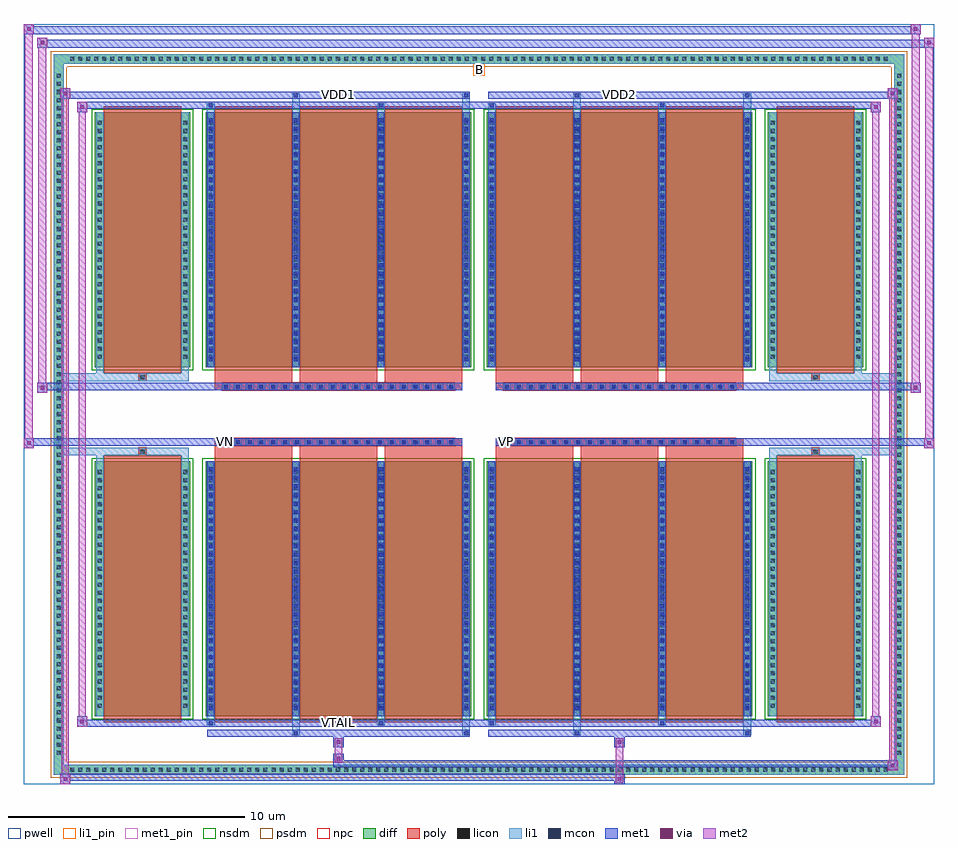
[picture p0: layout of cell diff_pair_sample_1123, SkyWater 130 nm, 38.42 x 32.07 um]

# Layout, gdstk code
import gdstk
lib = gdstk.Library(unit=1e-6, precision=5e-09)
def R(c, l, rs):  # rectangles x0, y0, x1, y1
    for r in rs: c.add(gdstk.rectangle(r[:2], r[2:], *l))
def A(c, l, x, y, w, h, nx, ny, dx, dy):  # array of equal rectangles
    R(c, l, [(x+i*dx, y+j*dy, x+i*dx+w, y+j*dy+h) for i in range(nx) for j in range(ny)])
def P(c, l, *ps):  # polygons
    for p in ps: c.add(gdstk.Polygon(p, *l))
pwell = (64, 44)
diff = (65, 20)
poly = (66, 20)
licon = (66, 44)
li1_pin = (67, 16)
li1 = (67, 20)
mcon = (67, 44)
met1_pin = (68, 16)
met1 = (68, 20)
via = (68, 44)
met2 = (69, 20)
nsdm = (93, 44)
psdm = (94, 20)
npc = (95, 20)

diff_pair_sample_1123 = lib.new_cell('diff_pair_sample_1123')
R(diff_pair_sample_1123, pwell, [(-19.21,-15.6,19.21,16.47), (-16.53,-13.79,-0.01,-0.805), (0.01,-13.79,16.53,-0.805), (-16.53,0.805,-0.01,13.79), (0.01,0.805,16.53,13.79)])
A(diff_pair_sample_1123, diff, -17.375, -15.2, 0.41, 0.41, 102, 2, 0.34, 29.99)
A(diff_pair_sample_1123, diff, -17.94, -14.485, 0.41, 0.41, 1, 85, 0, 0.34)
A(diff_pair_sample_1123, diff, 17.53, -14.485, 0.41, 0.41, 1, 85, 0, 0.34)
R(diff_pair_sample_1123, diff, [(-17.375,-15.2,17.375,-14.79), (-17.94,-14.485,-17.53,14.485), (17.53,-14.485,17.94,14.485), (-16.22,-12.745,-12.18,-1.985), (-11.54,-12.745,-0.32,-1.985), (0.32,-12.745,11.54,-1.985), (12.18,-12.745,16.22,-1.985), (-16.22,1.985,-12.18,12.745), (-11.54,1.985,-0.32,12.745), (0.32,1.985,11.54,12.745), (12.18,1.985,16.22,12.745), (-17.375,14.79,17.375,15.2)])
P(diff_pair_sample_1123, diff, [(17.94,15.2),(-17.94,15.2),(-17.94,-14.79),(-17.53,-14.79),(-17.53,14.79),(17.53,14.79),(17.53,-14.79),(-17.53,-14.79),(-17.94,-14.79),(-17.94,-15.2),(17.94,-15.2)])
A(diff_pair_sample_1123, poly, -11.15, -12.995, 3.26, 11.26, 3, 2, 3.59, 14.73)
A(diff_pair_sample_1123, poly, 0.71, -12.995, 3.26, 11.26, 3, 2, 3.59, 14.73)
A(diff_pair_sample_1123, poly, -11.15, -1.735, 3.26, 0.4, 3, 2, 3.59, 3.07)
A(diff_pair_sample_1123, poly, 0.71, -1.735, 3.26, 0.4, 3, 2, 3.59, 3.07)
A(diff_pair_sample_1123, poly, -10.845, -1.335, 0.33, 0.33, 20, 2, 0.5, 2.34)
A(diff_pair_sample_1123, poly, 1.015, -1.335, 0.33, 0.33, 20, 2, 0.5, 2.34)
R(diff_pair_sample_1123, poly, [(-15.83,-12.995,-12.57,-1.735), (12.57,-12.995,15.83,-1.735), (-14.365,-1.735,-14.035,-1.405), (-14.365,-1.735,-14.035,-1.405), (14.035,-1.735,14.365,-1.405), (14.035,-1.735,14.365,-1.405), (-11.15,-1.335,-0.71,-1.005), (0.71,-1.335,11.15,-1.005), (-11.15,1.005,-0.71,1.335), (0.71,1.005,11.15,1.335), (-14.365,1.405,-14.035,1.735), (-14.365,1.405,-14.035,1.735), (14.035,1.405,14.365,1.735), (14.035,1.405,14.365,1.735), (-15.83,1.735,-12.57,12.995), (12.57,1.735,15.83,12.995)])
A(diff_pair_sample_1123, licon, -17.255, -15.08, 0.17, 0.17, 102, 2, 0.34, 29.99)
A(diff_pair_sample_1123, licon, -17.82, -14.365, 0.17, 0.17, 1, 85, 0, 0.34)
A(diff_pair_sample_1123, licon, 17.65, -14.365, 0.17, 0.17, 1, 85, 0, 0.34)
A(diff_pair_sample_1123, licon, -16.08, -12.38, 0.17, 0.17, 1, 30, 0, 0.34)
A(diff_pair_sample_1123, licon, -12.49, -12.38, 0.17, 0.17, 1, 30, 0, 0.34)
A(diff_pair_sample_1123, licon, -11.4, -12.38, 0.17, 0.17, 4, 30, 3.59, 0.34)
A(diff_pair_sample_1123, licon, 0.46, -12.38, 0.17, 0.17, 4, 30, 3.59, 0.34)
A(diff_pair_sample_1123, licon, 12.32, -12.38, 0.17, 0.17, 1, 30, 0, 0.34)
A(diff_pair_sample_1123, licon, 15.91, -12.38, 0.17, 0.17, 1, 30, 0, 0.34)
A(diff_pair_sample_1123, licon, -10.765, -1.255, 0.17, 0.17, 20, 2, 0.5, 2.34)
A(diff_pair_sample_1123, licon, 1.095, -1.255, 0.17, 0.17, 20, 2, 0.5, 2.34)
A(diff_pair_sample_1123, licon, -16.08, 2.35, 0.17, 0.17, 1, 30, 0, 0.34)
A(diff_pair_sample_1123, licon, -12.49, 2.35, 0.17, 0.17, 1, 30, 0, 0.34)
A(diff_pair_sample_1123, licon, -11.4, 2.35, 0.17, 0.17, 4, 30, 3.59, 0.34)
A(diff_pair_sample_1123, licon, 0.46, 2.35, 0.17, 0.17, 4, 30, 3.59, 0.34)
A(diff_pair_sample_1123, licon, 12.32, 2.35, 0.17, 0.17, 1, 30, 0, 0.34)
A(diff_pair_sample_1123, licon, 15.91, 2.35, 0.17, 0.17, 1, 30, 0, 0.34)
R(diff_pair_sample_1123, licon, [(-14.285,-1.655,-14.115,-1.485), (14.115,-1.655,14.285,-1.485), (-14.285,1.485,-14.115,1.655), (14.115,1.485,14.285,1.655)])
R(diff_pair_sample_1123, li1_pin, [(-0.25,14.29,0.25,14.79)])
A(diff_pair_sample_1123, li1, -17.335, -15.16, 0.33, 0.33, 102, 2, 0.34, 29.99)
A(diff_pair_sample_1123, li1, -17.9, -14.445, 0.33, 0.33, 1, 85, 0, 0.34)
A(diff_pair_sample_1123, li1, 17.57, -14.445, 0.33, 0.33, 1, 85, 0, 0.34)
A(diff_pair_sample_1123, li1, -11.48, -12.745, 0.33, 10.76, 4, 2, 3.59, 14.73)
A(diff_pair_sample_1123, li1, 0.38, -12.745, 0.33, 10.76, 4, 2, 3.59, 14.73)
A(diff_pair_sample_1123, li1, -11.4, -12.49, 0.17, 0.17, 4, 29, 3.59, 0.36)
A(diff_pair_sample_1123, li1, -11.4, -12.49, 0.17, 10.25, 4, 2, 3.59, 14.73)
A(diff_pair_sample_1123, li1, 0.46, -12.49, 0.17, 0.17, 4, 29, 3.59, 0.36)
A(diff_pair_sample_1123, li1, 0.46, -12.49, 0.17, 10.25, 4, 2, 3.59, 14.73)
A(diff_pair_sample_1123, li1, -16.16, -12.46, 0.33, 0.33, 1, 30, 0, 0.34)
A(diff_pair_sample_1123, li1, -12.57, -12.46, 0.33, 0.33, 1, 30, 0, 0.34)
A(diff_pair_sample_1123, li1, -11.48, -12.46, 0.33, 0.33, 4, 30, 3.59, 0.34)
A(diff_pair_sample_1123, li1, 0.38, -12.46, 0.33, 0.33, 4, 30, 3.59, 0.34)
A(diff_pair_sample_1123, li1, 12.24, -12.46, 0.33, 0.33, 1, 30, 0, 0.34)
A(diff_pair_sample_1123, li1, 15.83, -12.46, 0.33, 0.33, 1, 30, 0, 0.34)
A(diff_pair_sample_1123, li1, -10.845, -1.335, 0.33, 0.33, 20, 2, 0.5, 2.34)
A(diff_pair_sample_1123, li1, 1.015, -1.335, 0.33, 0.33, 20, 2, 0.5, 2.34)
A(diff_pair_sample_1123, li1, -11.4, 2.24, 0.17, 0.17, 4, 29, 3.59, 0.36)
A(diff_pair_sample_1123, li1, 0.46, 2.24, 0.17, 0.17, 4, 29, 3.59, 0.36)
A(diff_pair_sample_1123, li1, -16.16, 2.27, 0.33, 0.33, 1, 30, 0, 0.34)
A(diff_pair_sample_1123, li1, -12.57, 2.27, 0.33, 0.33, 1, 30, 0, 0.34)
A(diff_pair_sample_1123, li1, -11.48, 2.27, 0.33, 0.33, 4, 30, 3.59, 0.34)
A(diff_pair_sample_1123, li1, 0.38, 2.27, 0.33, 0.33, 4, 30, 3.59, 0.34)
A(diff_pair_sample_1123, li1, 12.24, 2.27, 0.33, 0.33, 1, 30, 0, 0.34)
A(diff_pair_sample_1123, li1, 15.83, 2.27, 0.33, 0.33, 1, 30, 0, 0.34)
R(diff_pair_sample_1123, li1, [(-17.94,-15.2,-17.53,-14.79), (-17.94,-15.2,-17.53,-14.79), (-17.53,-15.2,17.53,-14.79), (17.53,-15.2,17.94,-14.79), (17.53,-15.2,17.94,-14.79), (-17.94,-14.79,-17.53,14.79), (17.53,-14.79,17.94,14.79), (-7.89,-13.55,-7.56,-12.745), (-7.81,-13.55,-7.64,-13.38), (-0.71,-13.55,-0.38,-12.745), (-0.63,-13.55,-0.46,-13.38), (3.97,-13.55,4.3,-12.745), (4.05,-13.55,4.22,-13.38), (11.15,-13.55,11.48,-12.745), (11.23,-13.55,11.4,-13.38), (-11.48,-13.12,-11.15,-12.745), (-11.4,-13.12,-11.23,-12.95), (-4.3,-13.12,-3.97,-12.745), (-4.22,-13.12,-4.05,-12.95), (0.38,-13.12,0.71,-12.745), (0.46,-13.12,0.63,-12.95), (7.56,-13.12,7.89,-12.745), (7.64,-13.12,7.81,-12.95), (-16.16,-12.745,-15.83,-1.985), (-12.57,-12.745,-12.24,-1.985), (12.24,-12.745,12.57,-1.985), (15.83,-12.745,16.16,-1.985), (-16.16,-1.985,-15.83,-1.405), (-12.57,-1.985,-12.24,-1.405), (12.24,-1.985,12.57,-1.405), (15.83,-1.985,16.16,-1.405), (-17.94,-1.735,-14.365,-1.405), (-16.16,-1.735,-14.365,-1.405), (-14.365,-1.735,-14.035,-1.405), (-14.035,-1.735,-12.24,-1.405), (12.24,-1.735,14.035,-1.405), (14.035,-1.735,14.365,-1.405), (14.035,-1.735,17.94,-1.405), (14.365,-1.735,16.16,-1.405), (-17.94,1.405,-14.365,1.735), (-16.16,1.405,-14.365,1.735), (-16.16,1.405,-15.83,1.985), (-14.365,1.405,-14.035,1.735), (-14.035,1.405,-12.24,1.735), (-12.57,1.405,-12.24,1.985), (12.24,1.405,14.035,1.735), (12.24,1.405,12.57,1.985), (14.035,1.405,14.365,1.735), (14.035,1.405,17.94,1.735), (14.365,1.405,16.16,1.735), (15.83,1.405,16.16,1.985), (-16.16,1.985,-15.83,12.745), (-12.57,1.985,-12.24,12.745), (12.24,1.985,12.57,12.745), (15.83,1.985,16.16,12.745), (-11.48,12.745,-11.15,13.12), (-7.89,12.745,-7.56,13.55), (-4.3,12.745,-3.97,13.12), (-0.71,12.745,-0.38,13.55), (0.38,12.745,0.71,13.12), (3.97,12.745,4.3,13.55), (7.56,12.745,7.89,13.12), (11.15,12.745,11.48,13.55), (-11.4,12.95,-11.23,13.12), (-4.22,12.95,-4.05,13.12), (0.46,12.95,0.63,13.12), (7.64,12.95,7.81,13.12), (-7.81,13.38,-7.64,13.55), (-0.63,13.38,-0.46,13.55), (4.05,13.38,4.22,13.55), (11.23,13.38,11.4,13.55), (-17.94,14.79,-17.53,15.2), (-17.94,14.79,-17.53,15.2), (-17.53,14.79,17.53,15.2), (17.53,14.79,17.94,15.2), (17.53,14.79,17.94,15.2)])
A(diff_pair_sample_1123, mcon, -11.4, -12.49, 0.17, 0.17, 4, 29, 3.59, 0.36)
A(diff_pair_sample_1123, mcon, 0.46, -12.49, 0.17, 0.17, 4, 29, 3.59, 0.36)
A(diff_pair_sample_1123, mcon, -10.765, -1.255, 0.17, 0.17, 20, 2, 0.5, 2.34)
A(diff_pair_sample_1123, mcon, 1.095, -1.255, 0.17, 0.17, 20, 2, 0.5, 2.34)
A(diff_pair_sample_1123, mcon, -11.4, 2.24, 0.17, 0.17, 4, 29, 3.59, 0.36)
A(diff_pair_sample_1123, mcon, 0.46, 2.24, 0.17, 0.17, 4, 29, 3.59, 0.36)
R(diff_pair_sample_1123, mcon, [(-7.81,-13.55,-7.64,-13.38), (-0.63,-13.55,-0.46,-13.38), (4.05,-13.55,4.22,-13.38), (11.23,-13.55,11.4,-13.38), (-11.4,-13.12,-11.23,-12.95), (-4.22,-13.12,-4.05,-12.95), (0.46,-13.12,0.63,-12.95), (7.64,-13.12,7.81,-12.95), (-11.4,12.95,-11.23,13.12), (-4.22,12.95,-4.05,13.12), (0.46,12.95,0.63,13.12), (7.64,12.95,7.81,13.12), (-7.81,13.38,-7.64,13.55), (-0.63,13.38,-0.46,13.55), (4.05,13.38,4.22,13.55), (11.23,13.38,11.4,13.55)])
R(diff_pair_sample_1123, met1_pin, [(-6.065,-13.16,-5.795,-12.89), (-10.815,-1.295,-10.545,-1.025), (1.045,-1.295,1.315,-1.025), (-6.065,13.34,-5.795,13.61), (5.795,13.34,6.065,13.61)])
A(diff_pair_sample_1123, met1, -11.46, -12.745, 0.29, 10.76, 4, 2, 3.59, 14.73)
A(diff_pair_sample_1123, met1, 0.4, -12.745, 0.29, 10.76, 4, 2, 3.59, 14.73)
A(diff_pair_sample_1123, met1, -11.46, -12.55, 0.29, 0.29, 4, 29, 3.59, 0.36)
A(diff_pair_sample_1123, met1, 0.4, -12.55, 0.29, 0.29, 4, 29, 3.59, 0.36)
A(diff_pair_sample_1123, met1, -10.825, -1.315, 0.29, 0.29, 20, 2, 0.5, 2.34)
A(diff_pair_sample_1123, met1, 1.035, -1.315, 0.29, 0.29, 20, 2, 0.5, 2.34)
A(diff_pair_sample_1123, met1, -11.46, 2.18, 0.29, 0.29, 4, 29, 3.59, 0.36)
A(diff_pair_sample_1123, met1, 0.4, 2.18, 0.29, 0.29, 4, 29, 3.59, 0.36)
R(diff_pair_sample_1123, met1, [(-17.67,-15.6,-17.24,-15.17), (5.715,-15.6,6.145,-15.17), (-17.67,-15.46,6.145,-15.17), (17.24,-15.03,17.67,-14.6), (-6.145,-14.89,17.67,-14.6), (-6.145,-14.75,-5.715,-14.32), (-6.145,-14.04,-5.715,-13.61), (5.715,-14.04,6.145,-13.61), (-11.46,-13.61,-0.4,-13.32), (-7.87,-13.61,-7.58,-13.32), (-0.69,-13.61,-0.4,-13.32), (0.4,-13.61,11.46,-13.32), (3.99,-13.61,4.28,-13.32), (11.17,-13.61,11.46,-13.32), (-16.96,-13.18,-16.53,-12.75), (-16.96,-13.18,-11.46,-12.89), (-11.46,-13.18,-11.17,-12.89), (-11.46,-13.18,-0.4,-12.89), (-4.28,-13.18,-3.99,-12.89), (-0.4,-13.18,0.4,-12.89), (0.4,-13.18,0.69,-12.89), (0.4,-13.18,11.46,-12.89), (7.58,-13.18,7.87,-12.89), (11.46,-13.18,16.96,-12.89), (16.53,-13.18,16.96,-12.75), (-19.21,-1.435,-18.78,-1.005), (18.78,-1.435,19.21,-1.005), (-19.21,-1.335,-0.71,-1.005), (-11.15,-1.335,-0.71,-1.005), (0.71,-1.335,11.15,-1.005), (0.71,-1.335,19.21,-1.005), (-18.64,0.905,-18.21,1.335), (18.21,0.905,18.64,1.335), (-18.64,1.005,-11.15,1.335), (-11.15,1.005,-0.71,1.335), (0.71,1.005,11.15,1.335), (11.15,1.005,18.64,1.335), (-16.96,12.75,-16.53,13.18), (16.53,12.75,16.96,13.18), (-16.96,12.89,-11.46,13.18), (-11.46,12.89,-11.17,13.18), (-11.46,12.89,-0.4,13.18), (-4.28,12.89,-3.99,13.18), (-0.4,12.89,0.4,13.18), (0.4,12.89,0.69,13.18), (0.4,12.89,11.46,13.18), (7.58,12.89,7.87,13.18), (11.46,12.89,16.96,13.18), (-17.67,13.32,-17.24,13.75), (-17.67,13.32,-11.46,13.61), (-11.46,13.32,-0.4,13.61), (-7.87,13.32,-7.58,13.61), (-0.69,13.32,-0.4,13.61), (0.4,13.32,11.46,13.61), (3.99,13.32,4.28,13.61), (11.17,13.32,11.46,13.61), (11.46,13.32,17.67,13.61), (17.24,13.32,17.67,13.75), (-18.64,15.47,-18.21,15.9), (-18.64,15.47,-16.53,15.8), (-16.53,15.47,16.53,15.8), (16.53,15.47,19.21,15.8), (18.78,15.47,19.21,15.9), (-19.21,16.04,-18.78,16.47), (-19.21,16.04,-16.53,16.37), (-16.53,16.04,16.53,16.37), (16.53,16.04,18.64,16.37), (18.21,16.04,18.64,16.47)])
R(diff_pair_sample_1123, via, [(-17.53,-15.46,-17.38,-15.31), (5.855,-15.46,6.005,-15.31), (17.38,-14.89,17.53,-14.74), (-6.005,-14.61,-5.855,-14.46), (-6.005,-13.9,-5.855,-13.75), (5.855,-13.9,6.005,-13.75), (-16.82,-13.04,-16.67,-12.89), (16.67,-13.04,16.82,-12.89), (-19.07,-1.295,-18.92,-1.145), (18.92,-1.295,19.07,-1.145), (-18.5,1.045,-18.35,1.195), (18.35,1.045,18.5,1.195), (-16.82,12.89,-16.67,13.04), (16.67,12.89,16.82,13.04), (-17.53,13.46,-17.38,13.61), (17.38,13.46,17.53,13.61), (-18.5,15.61,-18.35,15.76), (18.92,15.61,19.07,15.76), (-19.07,16.18,-18.92,16.33), (18.35,16.18,18.5,16.33)])
R(diff_pair_sample_1123, met2, [(-17.67,-15.6,-17.24,-15.17), (-17.6,-15.6,-17.31,13.75), (-17.31,-15.6,-17.24,-15.17), (-17.62,-15.55,-17.29,-15.22), (5.765,-15.55,6.095,-15.22), (5.765,-15.22,6.095,-13.99), (17.24,-15.03,17.67,-14.6), (17.31,-15.03,17.6,13.75), (17.6,-15.03,17.67,-14.6), (17.29,-14.98,17.62,-14.65), (-6.095,-14.7,-5.765,-14.37), (-6.095,-14.37,-5.765,-13.99), (-6.095,-13.99,-5.765,-13.66), (5.765,-13.99,6.095,-13.66), (-16.96,-13.18,-16.53,-12.75), (-16.89,-13.18,-16.6,13.18), (-16.6,-13.18,-16.53,-12.75), (16.53,-13.18,16.96,-12.75), (16.6,-13.18,16.89,13.18), (16.89,-13.18,16.96,-12.75), (-16.91,-13.13,-16.58,-12.8), (16.58,-13.13,16.91,-12.8), (-19.21,-1.435,-18.78,-1.005), (-19.16,-1.435,-18.83,16.47), (-18.83,-1.435,-18.78,-1.005), (18.78,-1.435,19.21,-1.005), (18.83,-1.435,19.16,15.9), (19.16,-1.435,19.21,-1.005), (-19.16,-1.385,-18.83,-1.055), (18.83,-1.385,19.16,-1.055), (-18.64,0.905,-18.21,1.335), (-18.59,0.905,-18.26,15.9), (-18.26,0.905,-18.21,1.335), (18.21,0.905,18.64,1.335), (18.26,0.905,18.59,16.47), (18.59,0.905,18.64,1.335), (-18.59,0.955,-18.26,1.285), (18.26,0.955,18.59,1.285), (-16.96,12.75,-16.53,13.18), (-16.6,12.75,-16.53,13.18), (16.53,12.75,16.96,13.18), (16.89,12.75,16.96,13.18), (-16.91,12.8,-16.58,13.13), (16.58,12.8,16.91,13.13), (-17.67,13.32,-17.24,13.75), (-17.31,13.32,-17.24,13.75), (17.24,13.32,17.67,13.75), (17.6,13.32,17.67,13.75), (-17.62,13.37,-17.29,13.7), (17.29,13.37,17.62,13.7), (-18.64,15.47,-18.21,15.9), (-18.26,15.47,-18.21,15.9), (18.78,15.47,19.21,15.9), (19.16,15.47,19.21,15.9), (-18.59,15.52,-18.26,15.85), (18.83,15.52,19.16,15.85), (-19.21,16.04,-18.78,16.47), (-18.83,16.04,-18.78,16.47), (18.21,16.04,18.64,16.47), (18.59,16.04,18.64,16.47), (-19.16,16.09,-18.83,16.42), (18.26,16.09,18.59,16.42)])
R(diff_pair_sample_1123, nsdm, [(-16.35,-12.875,-12.05,-1.855), (-11.67,-12.875,-0.19,-1.855), (0.19,-12.875,11.67,-1.855), (12.05,-12.875,16.35,-1.855), (-16.35,1.855,-12.05,12.875), (-11.67,1.855,-0.19,12.875), (0.19,1.855,11.67,12.875), (12.05,1.855,16.35,12.875)])
P(diff_pair_sample_1123, psdm, [(18.07,15.33),(-18.07,15.33),(-18.07,-14.66),(-17.4,-14.66),(-17.4,14.66),(17.4,14.66),(17.4,-14.66),(-17.4,-14.66),(-18.07,-14.66),(-18.07,-15.33),(18.07,-15.33)])
A(diff_pair_sample_1123, npc, -10.865, -1.355, 0.37, 0.37, 20, 2, 0.5, 2.34)
A(diff_pair_sample_1123, npc, 0.995, -1.355, 0.37, 0.37, 20, 2, 0.5, 2.34)
R(diff_pair_sample_1123, npc, [(-14.385,-1.755,-14.015,-1.385), (14.015,-1.755,14.385,-1.385), (-10.865,-1.355,-9.995,-0.985), (-10.865,-1.355,-9.995,-0.985), (-10.365,-1.355,-9.495,-0.985), (-10.365,-1.355,-9.495,-0.985), (-9.865,-1.355,-8.995,-0.985), (-9.865,-1.355,-8.995,-0.985), (-9.365,-1.355,-8.495,-0.985), (-9.365,-1.355,-8.495,-0.985), (-8.865,-1.355,-7.995,-0.985), (-8.865,-1.355,-7.995,-0.985), (-8.365,-1.355,-7.495,-0.985), (-8.365,-1.355,-7.495,-0.985), (-7.865,-1.355,-6.995,-0.985), (-7.865,-1.355,-6.995,-0.985), (-7.365,-1.355,-6.495,-0.985), (-7.365,-1.355,-6.495,-0.985), (-6.865,-1.355,-5.995,-0.985), (-6.865,-1.355,-5.995,-0.985), (-6.365,-1.355,-5.495,-0.985), (-6.365,-1.355,-5.495,-0.985), (-5.865,-1.355,-4.995,-0.985), (-5.865,-1.355,-4.995,-0.985), (-5.365,-1.355,-4.495,-0.985), (-5.365,-1.355,-4.495,-0.985), (-4.865,-1.355,-3.995,-0.985), (-4.865,-1.355,-3.995,-0.985), (-4.365,-1.355,-3.495,-0.985), (-4.365,-1.355,-3.495,-0.985), (-3.865,-1.355,-2.995,-0.985), (-3.865,-1.355,-2.995,-0.985), (-3.365,-1.355,-2.495,-0.985), (-3.365,-1.355,-2.495,-0.985), (-2.865,-1.355,-1.995,-0.985), (-2.865,-1.355,-1.995,-0.985), (-2.365,-1.355,-1.495,-0.985), (-2.365,-1.355,-1.495,-0.985), (-1.865,-1.355,-0.995,-0.985), (-1.865,-1.355,-0.995,-0.985), (0.995,-1.355,1.865,-0.985), (0.995,-1.355,1.865,-0.985), (1.495,-1.355,2.365,-0.985), (1.495,-1.355,2.365,-0.985), (1.995,-1.355,2.865,-0.985), (1.995,-1.355,2.865,-0.985), (2.495,-1.355,3.365,-0.985), (2.495,-1.355,3.365,-0.985), (2.995,-1.355,3.865,-0.985), (2.995,-1.355,3.865,-0.985), (3.495,-1.355,4.365,-0.985), (3.495,-1.355,4.365,-0.985), (3.995,-1.355,4.865,-0.985), (3.995,-1.355,4.865,-0.985), (4.495,-1.355,5.365,-0.985), (4.495,-1.355,5.365,-0.985), (4.995,-1.355,5.865,-0.985), (4.995,-1.355,5.865,-0.985), (5.495,-1.355,6.365,-0.985), (5.495,-1.355,6.365,-0.985), (5.995,-1.355,6.865,-0.985), (5.995,-1.355,6.865,-0.985), (6.495,-1.355,7.365,-0.985), (6.495,-1.355,7.365,-0.985), (6.995,-1.355,7.865,-0.985), (6.995,-1.355,7.865,-0.985), (7.495,-1.355,8.365,-0.985), (7.495,-1.355,8.365,-0.985), (7.995,-1.355,8.865,-0.985), (7.995,-1.355,8.865,-0.985), (8.495,-1.355,9.365,-0.985), (8.495,-1.355,9.365,-0.985), (8.995,-1.355,9.865,-0.985), (8.995,-1.355,9.865,-0.985), (9.495,-1.355,10.365,-0.985), (9.495,-1.355,10.365,-0.985), (9.995,-1.355,10.865,-0.985), (9.995,-1.355,10.865,-0.985), (-10.865,0.985,-9.995,1.355), (-10.865,0.985,-9.995,1.355), (-10.365,0.985,-9.495,1.355), (-10.365,0.985,-9.495,1.355), (-9.865,0.985,-8.995,1.355), (-9.865,0.985,-8.995,1.355), (-9.365,0.985,-8.495,1.355), (-9.365,0.985,-8.495,1.355), (-8.865,0.985,-7.995,1.355), (-8.865,0.985,-7.995,1.355), (-8.365,0.985,-7.495,1.355), (-8.365,0.985,-7.495,1.355), (-7.865,0.985,-6.995,1.355), (-7.865,0.985,-6.995,1.355), (-7.365,0.985,-6.495,1.355), (-7.365,0.985,-6.495,1.355), (-6.865,0.985,-5.995,1.355), (-6.865,0.985,-5.995,1.355), (-6.365,0.985,-5.495,1.355), (-6.365,0.985,-5.495,1.355), (-5.865,0.985,-4.995,1.355), (-5.865,0.985,-4.995,1.355), (-5.365,0.985,-4.495,1.355), (-5.365,0.985,-4.495,1.355), (-4.865,0.985,-3.995,1.355), (-4.865,0.985,-3.995,1.355), (-4.365,0.985,-3.495,1.355), (-4.365,0.985,-3.495,1.355), (-3.865,0.985,-2.995,1.355), (-3.865,0.985,-2.995,1.355), (-3.365,0.985,-2.495,1.355), (-3.365,0.985,-2.495,1.355), (-2.865,0.985,-1.995,1.355), (-2.865,0.985,-1.995,1.355), (-2.365,0.985,-1.495,1.355), (-2.365,0.985,-1.495,1.355), (-1.865,0.985,-0.995,1.355), (-1.865,0.985,-0.995,1.355), (0.995,0.985,1.865,1.355), (0.995,0.985,1.865,1.355), (1.495,0.985,2.365,1.355), (1.495,0.985,2.365,1.355), (1.995,0.985,2.865,1.355), (1.995,0.985,2.865,1.355), (2.495,0.985,3.365,1.355), (2.495,0.985,3.365,1.355), (2.995,0.985,3.865,1.355), (2.995,0.985,3.865,1.355), (3.495,0.985,4.365,1.355), (3.495,0.985,4.365,1.355), (3.995,0.985,4.865,1.355), (3.995,0.985,4.865,1.355), (4.495,0.985,5.365,1.355), (4.495,0.985,5.365,1.355), (4.995,0.985,5.865,1.355), (4.995,0.985,5.865,1.355), (5.495,0.985,6.365,1.355), (5.495,0.985,6.365,1.355), (5.995,0.985,6.865,1.355), (5.995,0.985,6.865,1.355), (6.495,0.985,7.365,1.355), (6.495,0.985,7.365,1.355), (6.995,0.985,7.865,1.355), (6.995,0.985,7.865,1.355), (7.495,0.985,8.365,1.355), (7.495,0.985,8.365,1.355), (7.995,0.985,8.865,1.355), (7.995,0.985,8.865,1.355), (8.495,0.985,9.365,1.355), (8.495,0.985,9.365,1.355), (8.995,0.985,9.865,1.355), (8.995,0.985,9.865,1.355), (9.495,0.985,10.365,1.355), (9.495,0.985,10.365,1.355), (9.995,0.985,10.865,1.355), (9.995,0.985,10.865,1.355), (-14.385,1.385,-14.015,1.755), (14.015,1.385,14.385,1.755)])
diff_pair_sample_1123.add(gdstk.Label('VTAIL', (-5.93,-13.025), layer=68, texttype=5))
diff_pair_sample_1123.add(gdstk.Label('VN', (-10.68,-1.16), layer=68, texttype=5))
diff_pair_sample_1123.add(gdstk.Label('VP', (1.18,-1.16), layer=68, texttype=5))
diff_pair_sample_1123.add(gdstk.Label('B', (0,14.54), layer=67, texttype=5))
diff_pair_sample_1123.add(gdstk.Label('VDD2', (5.93,13.475), layer=68, texttype=5))
diff_pair_sample_1123.add(gdstk.Label('VDD1', (-5.93,13.475), layer=68, texttype=5))

lib.write_gds('diff_pair_sample_1123.gds')
